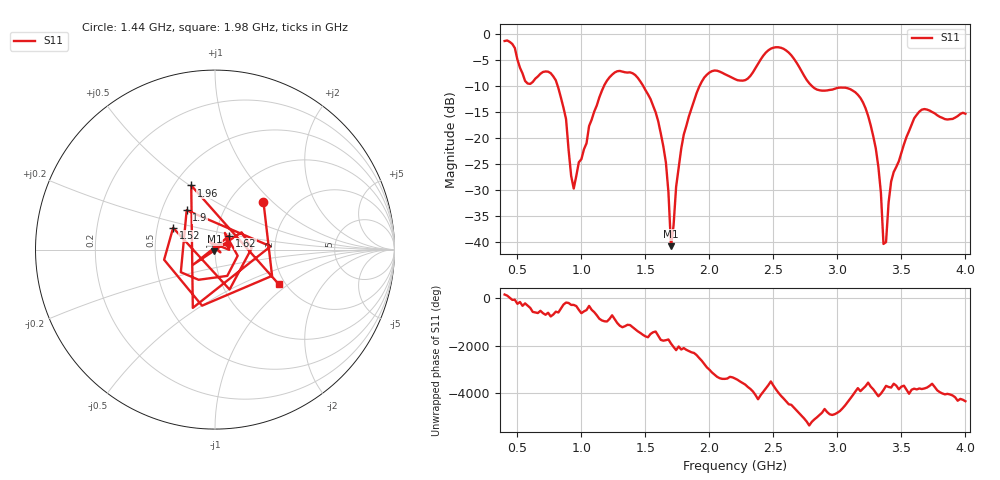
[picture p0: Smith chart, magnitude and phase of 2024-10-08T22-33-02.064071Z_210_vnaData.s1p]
! Created with skrf (http://scikit-rf.org).
# Hz S RI R 50.0
!freq ReS11 ImS11
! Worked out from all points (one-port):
!   181 points, 400 MHz to 4 GHz, reference 50 ohm
!   lowest |S11| = -40.8 dB at 1.7 GHz (marker M1), VSWR 1.02, Z = 49.7 - j0.836 ohm
!   |S11| at or under -10 dB: 814.6 MHz to 1.176 GHz (361.9 MHz wide, 36.4 % of centre); 1.483 GHz to 1.923 GHz (440.7 MHz wide, 25.9 % of centre); 2.8 GHz to end of sweep
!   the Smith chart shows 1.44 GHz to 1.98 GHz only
!   S11 on the Smith chart (normalised r, x): 1.44 GHz: 1.42, +0.88; 1.52 GHz: 0.61, +0.16; 1.62 GHz: 1.16, +0.18; 1.9 GHz: 0.67, +0.32; 1.96 GHz: 0.61, +0.51; 1.98 GHz: 1.85, -0.86
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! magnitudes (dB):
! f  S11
! 400 MHz  -1.3
! 580 MHz  -9.5
! 760 MHz  -7.5
! 860 MHz  -14.2
! 940 MHz  -29.7
! 1.16 GHz  -10.9
! 1.3 GHz  -7.1
! 1.44 GHz  -8.4
! 1.52 GHz  -11.6
! 1.62 GHz  -19.1
! 1.66 GHz  -24.7
! 1.7 GHz  -40.8
! 1.76 GHz  -25.6
! 1.9 GHz  -11.4
! 1.96 GHz  -8.4
! 1.98 GHz  -7.8
! 2.2 GHz  -8.7
! 2.5 GHz  -2.6
! 2.66 GHz  -4.8
! 2.84 GHz  -10.7
! 3.1 GHz  -10.6
! 3.28 GHz  -19.7
! 3.34 GHz  -30.6
! 3.36 GHz  -40.4
! 3.38 GHz  -40.0
! 3.42 GHz  -28.4
! 3.56 GHz  -18.7
! 4 GHz  -15.3
